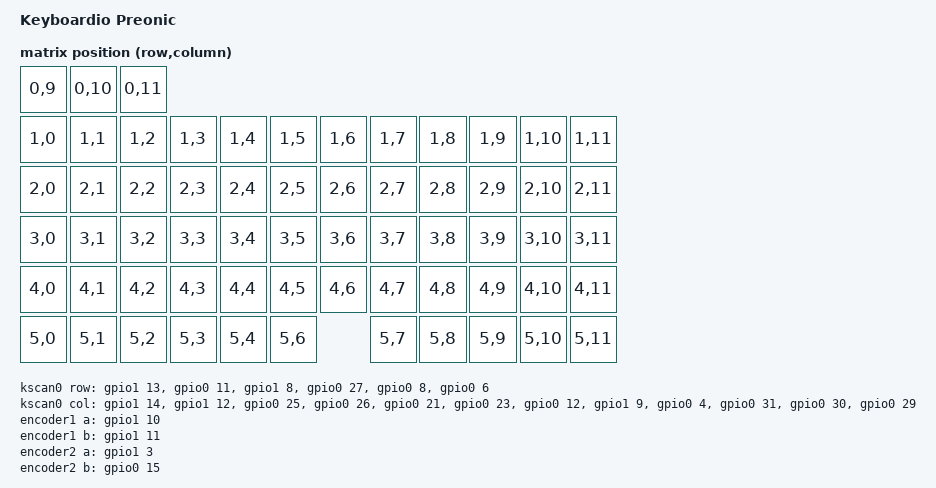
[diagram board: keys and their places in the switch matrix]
/dts-v1/;
#include <nordic/nrf52840_qiaa.dtsi>
#include <dt-bindings/zmk/matrix_transform.h>
#include <dt-bindings/zmk/keys.h>
#include <dt-bindings/gpio/gpio.h>
#include <dt-bindings/led/led.h>
#include "keyboardio_preonic-layouts.dtsi"

/ {
	model = "Keyboardio Preonic";
	compatible = "keyboardio_preonic";

	chosen {
		zephyr,code-partition = &code_partition;
		zephyr,sram = &sram0;
		zephyr,flash = &flash0;
		zmk,battery = &fuelgauge;
		zmk,kscan = &kscan0;
		zmk,physical-layout = &mit_layout;
		zmk,underglow = &led_strip;
		zmk,butterfly = &led_strip;
	};

	#undef RC
	#define RC(row, col) (((row) << 8) + (col))

	mit_transform: mit_transform {
		compatible = "zmk,matrix-transform";
		columns = <12>;
		rows = <6>;
		map = <
			RC(0,9) RC(0,10) RC(0,11)
			RC(1,0) RC(1,1) RC(1,2) RC(1,3) RC(1,4) RC(1,5) RC(1,6) RC(1,7) RC(1,8) RC(1,9) RC(1,10) RC(1,11)
			RC(2,0) RC(2,1) RC(2,2) RC(2,3) RC(2,4) RC(2,5) RC(2,6) RC(2,7) RC(2,8) RC(2,9) RC(2,10) RC(2,11)
			RC(3,0) RC(3,1) RC(3,2) RC(3,3) RC(3,4) RC(3,5) RC(3,6) RC(3,7) RC(3,8) RC(3,9) RC(3,10) RC(3,11)
			RC(4,0) RC(4,1) RC(4,2) RC(4,3) RC(4,4) RC(4,5) RC(4,6) RC(4,7) RC(4,8) RC(4,9) RC(4,10) RC(4,11)
			RC(5,0) RC(5,1) RC(5,2) RC(5,3) RC(5,4)     RC(5,6)     RC(5,7) RC(5,8) RC(5,9) RC(5,10) RC(5,11)
		>;
	};

	kscan0: kscan {
		compatible = "zmk,kscan-gpio-matrix";
		wakeup-source;
		debounce-press-ms = <1>;
		debounce-release-ms = <5>;
		diode-direction = "col2row";
		row-gpios
			= <&gpio1 13 (GPIO_ACTIVE_HIGH | GPIO_PULL_DOWN)>
			, <&gpio0 11 (GPIO_ACTIVE_HIGH | GPIO_PULL_DOWN)>
			, <&gpio1 8  (GPIO_ACTIVE_HIGH | GPIO_PULL_DOWN)>
			, <&gpio0 27 (GPIO_ACTIVE_HIGH | GPIO_PULL_DOWN)>
			, <&gpio0 8  (GPIO_ACTIVE_HIGH | GPIO_PULL_DOWN)>
			, <&gpio0 6  (GPIO_ACTIVE_HIGH | GPIO_PULL_DOWN)>
			;
		col-gpios
			= <&gpio1 14 GPIO_ACTIVE_HIGH>
			, <&gpio1 12 GPIO_ACTIVE_HIGH>
			, <&gpio0 25 GPIO_ACTIVE_HIGH>
			, <&gpio0 26 GPIO_ACTIVE_HIGH>
			, <&gpio0 21 GPIO_ACTIVE_HIGH>
			, <&gpio0 23 GPIO_ACTIVE_HIGH>
			, <&gpio0 12 GPIO_ACTIVE_HIGH>
			, <&gpio1 9  GPIO_ACTIVE_HIGH>
			, <&gpio0 4  GPIO_ACTIVE_HIGH>
			, <&gpio0 31 GPIO_ACTIVE_HIGH>
			, <&gpio0 30 GPIO_ACTIVE_HIGH>
			, <&gpio0 29 GPIO_ACTIVE_HIGH>
			;
	};

	encoder1: encoder1 {
		compatible = "alps,ec11";
		a-gpios = <&gpio1 10 (GPIO_ACTIVE_LOW | GPIO_PULL_UP)>;
		b-gpios = <&gpio1 11 (GPIO_ACTIVE_LOW | GPIO_PULL_UP)>;
		steps = <80>;
		status = "disabled";
	};

	encoder2: encoder2 {
		compatible = "alps,ec11";
		a-gpios = <&gpio1 3  (GPIO_ACTIVE_LOW | GPIO_PULL_UP)>;
		b-gpios = <&gpio0 15 (GPIO_ACTIVE_LOW | GPIO_PULL_UP)>;
		steps = <80>;
		status = "disabled";
	};

	encoder3: encoder3 {
		compatible = "alps,ec11";
		a-gpios = <&gpio0 28 (GPIO_ACTIVE_LOW | GPIO_PULL_UP)>;
		b-gpios = <&gpio0 2  (GPIO_ACTIVE_LOW | GPIO_PULL_UP)>;
		steps = <80>;
		status = "okay";
	};

	sensors: sensors {
		compatible = "zmk,keymap-sensors";
		status = "okay";
		sensors = <&encoder3>;
		triggers-per-rotation = <20>;
	};
};

&gpio0 {
	status = "okay";
};

&gpio1 {
	status = "okay";
	butterfly_power: butterfly_pwr {
		compatible = "zmk,ext-power-generic";
		status = "okay";
		control-gpios = <&gpio1 5 GPIO_ACTIVE_HIGH>;
		init-delay-ms = <50>;
	};
};

&spi3 {
	compatible = "nordic,nrf-spim";
	status = "okay";
	pinctrl-0 = <&spi3_default>;
	pinctrl-1 = <&spi3_sleep>;
	pinctrl-names = "default", "sleep";

	led_strip: ws2812@0 {
		compatible = "worldsemi,ws2812-spi";
		label = "SK6812";
		reg = <0>;
		spi-max-frequency = <4000000>;
		chain-length = <4>;
		spi-one-frame = <0x70>;
		spi-zero-frame = <0x40>;
		color-mapping = <LED_COLOR_ID_GREEN
				 LED_COLOR_ID_RED
				 LED_COLOR_ID_BLUE>;
	};
};

&pinctrl {
	i2c0_default: i2c0_default {
		group1 {
			psels = <NRF_PSEL(TWIM_SDA, 0, 7)>,
				<NRF_PSEL(TWIM_SCL, 0, 5)>;
		};
	};

	i2c0_sleep: i2c0_sleep {
		group1 {
			psels = <NRF_PSEL(TWIM_SDA, 0, 7)>,
				<NRF_PSEL(TWIM_SCL, 0, 5)>;
			low-power-enable;
		};
	};

	spi3_default: spi3_default {
		group1 {
			psels = <NRF_PSEL(SPIM_MOSI, 0, 24)>;
		};
	};
	spi3_sleep: spi3_sleep {
		group1 {
			psels = <NRF_PSEL(SPIM_MOSI, 0, 24)>;
			low-power-enable;
		};
	};

	pwm0_default: pwm0_default {
		group1 {
			psels = <NRF_PSEL(PWM_OUT0, 0, 22)>;
			nordic,invert;
		};
	};

	pwm0_sleep: pwm0_sleep {
		group1 {
			psels = <NRF_PSEL(PWM_OUT0, 0, 22)>;
			low-power-enable;
		};
	};
};

&pwm0 {
	status = "okay";
	pinctrl-0 = <&pwm0_default>;
	pinctrl-1 = <&pwm0_sleep>;
	pinctrl-names = "default", "sleep";
};

&flash0 {
	/*
	 * Keyboardio Preonic 공식 플래시 파티션 레이아웃 (1MB nRF52840)
	 */
	partitions {
		compatible = "fixed-partitions";
		#address-cells = <1>;
		#size-cells = <1>;

		/* Nordic SoftDevice S140 / MBR (152KB: 0x00000000 ~ 0x00026000) */
		sd_partition: partition@0 {
			label = "softdevice";
			reg = <0x00000000 0x00026000>;
		};

		/* ZMK 펌웨어 코드 영역 (792KB: 0x00026000 ~ 0x000ec000) */
		code_partition: partition@26000 {
			label = "code_partition";
			reg = <0x00026000 0x000c6000>;
		};

		/* NVS 설정/페어링 저장소 (32KB: 0x000ec000 ~ 0x000f4000) - 8섹터 규격 완벽 일치 */
		storage_partition: partition@ec000 {
			label = "storage";
			reg = <0x000ec000 0x00008000>;
		};

		/* Adafruit nRF52 공장 부트로더 (48KB: 0x000f4000 ~ 0x00100000) */
		boot_partition: partition@f4000 {
			label = "adafruit_boot";
			reg = <0x000f4000 0x0000c000>;
		};
	};
};

&gpiote {
	status = "okay";
};

zephyr_udc0: &usbd {
	status = "okay";
};

&i2c0 {
	status = "okay";
	compatible = "nordic,nrf-twim";
	pinctrl-0 = <&i2c0_default>;
	pinctrl-1 = <&i2c0_sleep>;
	pinctrl-names = "default", "sleep";
	clock-frequency = <100000>;

	fuelgauge: max17048@36 {
		compatible = "zmk,maxim-max17048";
		reg = <0x36>;
	};
};

&adc {
	status = "okay";
};
